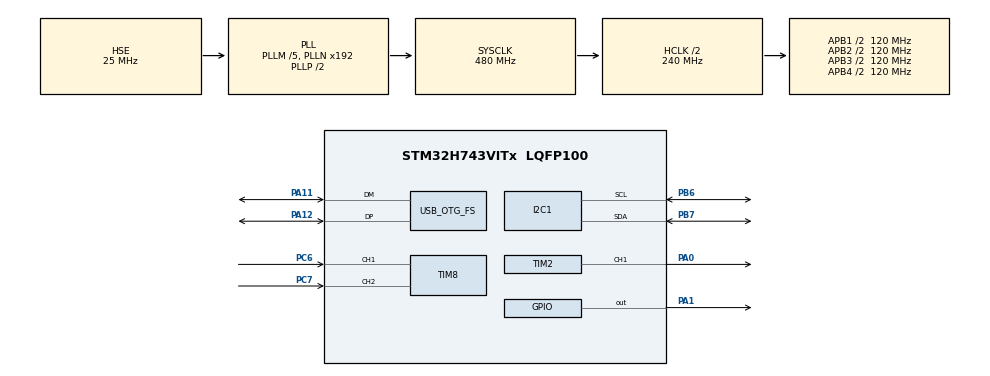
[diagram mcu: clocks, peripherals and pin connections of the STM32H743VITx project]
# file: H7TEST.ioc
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I2C1.Timing=0x307075B1
Mcu.Family=STM32H7
Mcu.Name=STM32H743VITx
Mcu.Package=LQFP100
NVIC.OTG_FS_IRQn=true\:0\:0\:false\:false\:true\:false\:true\:true
NVIC.PriorityGroup=NVIC_PRIORITYGROUP_4
NVIC.TIM8_BRK_TIM12_IRQn=true\:0\:0\:false\:false\:true\:true\:true\:true
PA0.Signal=S_TIM2_CH1_ETR
PA1.Signal=GPIO_Output
PA11.Mode=Device_Only
PA11.Signal=USB_OTG_FS_DM
PA12.Mode=Device_Only
PA12.Signal=USB_OTG_FS_DP
PB6.Mode=I2C
PB6.Signal=I2C1_SCL
PB7.Mode=I2C
PB7.Signal=I2C1_SDA
PC6.GPIO_PuPd=GPIO_PULLUP
PC6.Signal=S_TIM8_CH1
PC7.GPIO_PuPd=GPIO_PULLUP
PC7.Signal=S_TIM8_CH2
PH0-OSC_IN\ (PH0).Mode=HSE-External-Oscillator
PH0-OSC_IN\ (PH0).Signal=RCC_OSC_IN
PH1-OSC_OUT\ (PH1).Mode=HSE-External-Oscillator
PH1-OSC_OUT\ (PH1).Signal=RCC_OSC_OUT
ProjectManager.HeapSize=0x200
ProjectManager.StackSize=0x400
ProjectManager.TargetToolchain=STM32CubeIDE
RCC.ADCFreq_Value=50390625
RCC.APB1Freq_Value=120000000
RCC.APB2Freq_Value=120000000
RCC.APB3Freq_Value=120000000
RCC.APB4Freq_Value=120000000
RCC.CortexFreq_Value=480000000
RCC.D1PPRE=RCC_APB3_DIV2
RCC.D2PPRE1=RCC_APB1_DIV2
RCC.D2PPRE2=RCC_APB2_DIV2
RCC.D3PPRE=RCC_APB4_DIV2
RCC.DIVM1=5
RCC.DIVN1=192
RCC.HCLKFreq_Value=240000000
RCC.HPRE=RCC_HCLK_DIV2
RCC.PLLSourceVirtual=RCC_PLLSOURCE_HSE
RCC.SYSCLKFreq_VALUE=480000000
RCC.SYSCLKSource=RCC_SYSCLKSOURCE_PLLCLK
RCC.USBCLockSelection=RCC_USBCLKSOURCE_HSI48
RCC.USBFreq_Value=48000000
SH.S_TIM2_CH1_ETR.0=TIM2_CH1,PWM Generation1 CH1
SH.S_TIM8_CH1.0=TIM8_CH1,Encoder_Interface
SH.S_TIM8_CH2.0=TIM8_CH2,Encoder_Interface
TIM12.AutoReloadPreload=TIM_AUTORELOAD_PRELOAD_ENABLE
TIM12.Period=4095
TIM2.AutoReloadPreload=TIM_AUTORELOAD_PRELOAD_ENABLE
TIM2.Channel-PWM\ Generation1\ CH1=TIM_CHANNEL_1
TIM2.OCFastMode_PWM-PWM\ Generation1\ CH1=TIM_OCFAST_ENABLE
TIM2.Period=4095
TIM2.Prescaler=0
TIM2.Pulse-PWM\ Generation1\ CH1=2047
TIM8.AutoReloadPreload=TIM_AUTORELOAD_PRELOAD_ENABLE
TIM8.EncoderMode=TIM_ENCODERMODE_TI12
TIM8.IC1Filter=15
TIM8.IC2Filter=15
USB_DEVICE.CLASS_NAME_FS=AUDIO
USB_DEVICE.VirtualMode-AUDIO_FS=Audio
USB_DEVICE.VirtualModeFS=Audio_FS
USB_OTG_FS.VirtualMode=Device_Only
VP_TIM12_VS_ClockSourceINT.Mode=Internal
VP_USB_DEVICE_VS_USB_DEVICE_AUDIO_FS.Mode=AUDIO_FS
board=custom

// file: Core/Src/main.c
/* USER CODE BEGIN Header */
/**
  ******************************************************************************
  * @file           : main.c
  * @brief          : Main program body
  ******************************************************************************
  * @attention
  *
  * Copyright (c) 2022 STMicroelectronics.
  * All rights reserved.
  *
  * This software is licensed under terms that can be found in the LICENSE file
  * in the root directory of this software component.
  * If no LICENSE file comes with this software, it is provided AS-IS.
  *
  ******************************************************************************
  */
/* USER CODE END Header */
#include "main.h"
#include "usb_device.h"

/* USER CODE BEGIN Includes */
#include "u8g2/u8g2.h"
/* USER CODE END Includes */

I2C_HandleTypeDef hi2c1;

TIM_HandleTypeDef htim2;
TIM_HandleTypeDef htim8;
TIM_HandleTypeDef htim12;

void SystemClock_Config(void);
static void MX_GPIO_Init(void);
static void MX_I2C1_Init(void);
static void MX_TIM8_Init(void);
static void MX_TIM2_Init(void);
static void MX_TIM12_Init(void);

/* USER CODE BEGIN 0 */
extern uint8_t u8x8_stm32_gpio_and_delay(u8x8_t *u8x8, uint8_t msg, uint8_t arg_int, void *arg_ptr);
extern uint8_t u8x8_byte_stm32_hw_i2c(u8x8_t *u8x8, uint8_t msg, uint8_t arg_int, void *arg_ptr);

static u8g2_t u8g2;
int counter = 0;

void HAL_TIM_PeriodElapsedCallback(TIM_HandleTypeDef *htim) {
    if(htim->Instance == TIM12) {
    	 	 __HAL_TIM_SetCompare(&htim2, TIM_CHANNEL_1, counter);
    	    counter+=4;
    	    if (counter == 4096) counter = 0;
    }
}

static int8_t MIDI_ReceiveCallback (uint8_t* buffer)
{

//		char stringNum[8];
//	  sprintf(stringNum,"%d",buffer[1]);
	  u8g2_ClearBuffer(&u8g2);
	  u8g2_SetFont(&u8g2, u8g2_font_pcsenior_8n);
	  u8g2_DrawStr(&u8g2, 0,8*1, "MIDI");
	  u8g2_SendBuffer(&u8g2);

}

/* USER CODE END 0 */

int main(void)
{

  /* MCU Configuration--------------------------------------------------------*/

  /* Reset of all peripherals, Initializes the Flash interface and the Systick. */
  HAL_Init();

  /* Configure the system clock */
  SystemClock_Config();

  /* Initialize all configured peripherals */
  MX_GPIO_Init();
  MX_I2C1_Init();
  MX_TIM8_Init();
  MX_TIM2_Init();
  MX_TIM12_Init();
  MX_USB_DEVICE_Init();
  /* USER CODE BEGIN 2 */

  HAL_TIM_Base_Start(&htim2);
  HAL_TIM_Base_Start_IT(&htim12);
//  HAL_TIM_PWM_Init(&htim2);
  HAL_TIM_PWM_Start(&htim2, TIM_CHANNEL_1);

//  TIM2->CCR1 = 2047;
//  __HAL_TIM_SetCompare(&htim2, TIM_CHANNEL_1, 100);

  HAL_TIM_Encoder_Start(&htim2, TIM_CHANNEL_ALL);
  HAL_TIM_Encoder_Start(&htim8, TIM_CHANNEL_ALL);
  u8g2_Setup_ssd1306_i2c_128x64_noname_f(&u8g2, U8G2_R0, u8x8_byte_stm32_hw_i2c, u8x8_stm32_gpio_and_delay);

	/* Initialize Display */
	u8g2_InitDisplay(&u8g2);
	u8g2_SetPowerSave(&u8g2, 0);

  /* USER CODE END 2 */

  /* Infinite loop */
  /* USER CODE BEGIN WHILE */
	char stringNum[8];
	auto count = 0;
	auto prevCount = 0;

	//MIDI Callback set
//	MIDI_Receive_Set_CallBack(&MIDI_ReceiveCallback);
	MIDI_Set_u8g2(&u8g2);

  while (1)
  {
	  HAL_GPIO_TogglePin(GPIOA, GPIO_PIN_1);
	  HAL_Delay(500);
    /* USER CODE END WHILE */

    /* USER CODE BEGIN 3 */

//		u8g2_FirstPage(&u8g2);
//		do
//		{
//			u8g2_ClearBuffer(&u8g2);
//			u8g2_SetDrawColor(&u8g2,1);
//			u8g2_SetBitmapMode(&u8g2,1);
//			u8g2_DrawBitmap(&u8g2, 0, 0, bitmap_height, bitmap_width,  bitmap);
//
//		} while (u8g2_NextPage(&u8g2));
//	  u8g2_ClearBuffer(&u8g2);

//	  u8g2_SetFont(&u8g2, u8g2_font_pcsenior_8u);

//	  u8g2_DrawStr(&u8g2, 0,8*1,"> TEST 1");
//	  u8g2_DrawStr(&u8g2, 0,8*2,"  TEST 2");
//	  u8g2_DrawStr(&u8g2, 0,8*3,"  TEST 3");
//	  u8g2_DrawStr(&u8g2, 0,8*4,"  TEST 4");
//	  u8g2_DrawStr(&u8g2, 0,8*5,"  TEST 5");
//	  u8g2_DrawStr(&u8g2, 0,8*6,"  TEST 6");
//	  u8g2_DrawStr(&u8g2, 0,8*7,"  TEST 7");
//	  (TIM8->CNT)<<6

	  // ENCODER
//	  count = (TIM8->CNT);
//	  if (count != prevCount) {
//		  sprintf(stringNum,"%d",count>>2);
//		  u8g2_ClearBuffer(&u8g2);
//		  u8g2_SetFont(&u8g2, u8g2_font_pcsenior_8n);
//		  u8g2_DrawStr(&u8g2, 0,8*1, stringNum);
//		  u8g2_SendBuffer(&u8g2);
//	  }
//	  prevCount = count;
	  // ENCODER

  }
  /* USER CODE END 3 */
}

void SystemClock_Config(void)
{
  RCC_OscInitTypeDef RCC_OscInitStruct = {0};
  RCC_ClkInitTypeDef RCC_ClkInitStruct = {0};

  /** Supply configuration update enable
  */
  HAL_PWREx_ConfigSupply(PWR_LDO_SUPPLY);

  /** Configure the main internal regulator output voltage
  */
  __HAL_PWR_VOLTAGESCALING_CONFIG(PWR_REGULATOR_VOLTAGE_SCALE0);

  while(!__HAL_PWR_GET_FLAG(PWR_FLAG_VOSRDY)) {}

  /** Initializes the RCC Oscillators according to the specified parameters
  * in the RCC_OscInitTypeDef structure.
  */
  RCC_OscInitStruct.OscillatorType = RCC_OSCILLATORTYPE_HSI48|RCC_OSCILLATORTYPE_HSE;
  RCC_OscInitStruct.HSEState = RCC_HSE_ON;
  RCC_OscInitStruct.HSI48State = RCC_HSI48_ON;
  RCC_OscInitStruct.PLL.PLLState = RCC_PLL_ON;
  RCC_OscInitStruct.PLL.PLLSource = RCC_PLLSOURCE_HSE;
  RCC_OscInitStruct.PLL.PLLM = 5;
  RCC_OscInitStruct.PLL.PLLN = 192;
  RCC_OscInitStruct.PLL.PLLP = 2;
  RCC_OscInitStruct.PLL.PLLQ = 2;
  RCC_OscInitStruct.PLL.PLLR = 2;
  RCC_OscInitStruct.PLL.PLLRGE = RCC_PLL1VCIRANGE_2;
  RCC_OscInitStruct.PLL.PLLVCOSEL = RCC_PLL1VCOWIDE;
  RCC_OscInitStruct.PLL.PLLFRACN = 0;
  if (HAL_RCC_OscConfig(&RCC_OscInitStruct) != HAL_OK)
  {
    Error_Handler();
  }

  /** Initializes the CPU, AHB and APB buses clocks
  */
  RCC_ClkInitStruct.ClockType = RCC_CLOCKTYPE_HCLK|RCC_CLOCKTYPE_SYSCLK
                              |RCC_CLOCKTYPE_PCLK1|RCC_CLOCKTYPE_PCLK2
                              |RCC_CLOCKTYPE_D3PCLK1|RCC_CLOCKTYPE_D1PCLK1;
  RCC_ClkInitStruct.SYSCLKSource = RCC_SYSCLKSOURCE_PLLCLK;
  RCC_ClkInitStruct.SYSCLKDivider = RCC_SYSCLK_DIV1;
  RCC_ClkInitStruct.AHBCLKDivider = RCC_HCLK_DIV2;
  RCC_ClkInitStruct.APB3CLKDivider = RCC_APB3_DIV2;
  RCC_ClkInitStruct.APB1CLKDivider = RCC_APB1_DIV2;
  RCC_ClkInitStruct.APB2CLKDivider = RCC_APB2_DIV2;
  RCC_ClkInitStruct.APB4CLKDivider = RCC_APB4_DIV2;

  if (HAL_RCC_ClockConfig(&RCC_ClkInitStruct, FLASH_LATENCY_4) != HAL_OK)
  {
    Error_Handler();
  }
}

static void MX_I2C1_Init(void)
{

  hi2c1.Instance = I2C1;
  hi2c1.Init.Timing = 0x307075B1;
  hi2c1.Init.OwnAddress1 = 0;
  hi2c1.Init.AddressingMode = I2C_ADDRESSINGMODE_7BIT;
  hi2c1.Init.DualAddressMode = I2C_DUALADDRESS_DISABLE;
  hi2c1.Init.OwnAddress2 = 0;
  hi2c1.Init.OwnAddress2Masks = I2C_OA2_NOMASK;
  hi2c1.Init.GeneralCallMode = I2C_GENERALCALL_DISABLE;
  hi2c1.Init.NoStretchMode = I2C_NOSTRETCH_DISABLE;
  if (HAL_I2C_Init(&hi2c1) != HAL_OK)
  {
    Error_Handler();
  }

  /** Configure Analogue filter
  */
  if (HAL_I2CEx_ConfigAnalogFilter(&hi2c1, I2C_ANALOGFILTER_ENABLE) != HAL_OK)
  {
    Error_Handler();
  }

  /** Configure Digital filter
  */
  if (HAL_I2CEx_ConfigDigitalFilter(&hi2c1, 0) != HAL_OK)
  {
    Error_Handler();
  }

}

static void MX_TIM2_Init(void)
{

  TIM_MasterConfigTypeDef sMasterConfig = {0};
  TIM_OC_InitTypeDef sConfigOC = {0};

  htim2.Instance = TIM2;
  htim2.Init.Prescaler = 0;
  htim2.Init.CounterMode = TIM_COUNTERMODE_UP;
  htim2.Init.Period = 4095;
  htim2.Init.ClockDivision = TIM_CLOCKDIVISION_DIV1;
  htim2.Init.AutoReloadPreload = TIM_AUTORELOAD_PRELOAD_ENABLE;
  if (HAL_TIM_PWM_Init(&htim2) != HAL_OK)
  {
    Error_Handler();
  }
  sMasterConfig.MasterOutputTrigger = TIM_TRGO_RESET;
  sMasterConfig.MasterSlaveMode = TIM_MASTERSLAVEMODE_DISABLE;
  if (HAL_TIMEx_MasterConfigSynchronization(&htim2, &sMasterConfig) != HAL_OK)
  {
    Error_Handler();
  }
  sConfigOC.OCMode = TIM_OCMODE_PWM1;
  sConfigOC.Pulse = 2047;
  sConfigOC.OCPolarity = TIM_OCPOLARITY_HIGH;
  sConfigOC.OCFastMode = TIM_OCFAST_ENABLE;
  if (HAL_TIM_PWM_ConfigChannel(&htim2, &sConfigOC, TIM_CHANNEL_1) != HAL_OK)
  {
    Error_Handler();
  }
  HAL_TIM_MspPostInit(&htim2);

}

static void MX_TIM8_Init(void)
{

  TIM_Encoder_InitTypeDef sConfig = {0};
  TIM_MasterConfigTypeDef sMasterConfig = {0};

  htim8.Instance = TIM8;
  htim8.Init.Prescaler = 0;
  htim8.Init.CounterMode = TIM_COUNTERMODE_UP;
  htim8.Init.Period = 65535;
  htim8.Init.ClockDivision = TIM_CLOCKDIVISION_DIV1;
  htim8.Init.RepetitionCounter = 0;
  htim8.Init.AutoReloadPreload = TIM_AUTORELOAD_PRELOAD_ENABLE;
  sConfig.EncoderMode = TIM_ENCODERMODE_TI12;
  sConfig.IC1Polarity = TIM_ICPOLARITY_RISING;
  sConfig.IC1Selection = TIM_ICSELECTION_DIRECTTI;
  sConfig.IC1Prescaler = TIM_ICPSC_DIV1;
  sConfig.IC1Filter = 15;
  sConfig.IC2Polarity = TIM_ICPOLARITY_RISING;
  sConfig.IC2Selection = TIM_ICSELECTION_DIRECTTI;
  sConfig.IC2Prescaler = TIM_ICPSC_DIV1;
  sConfig.IC2Filter = 15;
  if (HAL_TIM_Encoder_Init(&htim8, &sConfig) != HAL_OK)
  {
    Error_Handler();
  }
  sMasterConfig.MasterOutputTrigger = TIM_TRGO_RESET;
  sMasterConfig.MasterOutputTrigger2 = TIM_TRGO2_RESET;
  sMasterConfig.MasterSlaveMode = TIM_MASTERSLAVEMODE_DISABLE;
  if (HAL_TIMEx_MasterConfigSynchronization(&htim8, &sMasterConfig) != HAL_OK)
  {
    Error_Handler();
  }

}

static void MX_TIM12_Init(void)
{

  TIM_ClockConfigTypeDef sClockSourceConfig = {0};

  htim12.Instance = TIM12;
  htim12.Init.Prescaler = 0;
  htim12.Init.CounterMode = TIM_COUNTERMODE_UP;
  htim12.Init.Period = 4095;
  htim12.Init.ClockDivision = TIM_CLOCKDIVISION_DIV1;
  htim12.Init.AutoReloadPreload = TIM_AUTORELOAD_PRELOAD_ENABLE;
  if (HAL_TIM_Base_Init(&htim12) != HAL_OK)
  {
    Error_Handler();
  }
  sClockSourceConfig.ClockSource = TIM_CLOCKSOURCE_INTERNAL;
  if (HAL_TIM_ConfigClockSource(&htim12, &sClockSourceConfig) != HAL_OK)
  {
    Error_Handler();
  }

}

static void MX_GPIO_Init(void)
{
  GPIO_InitTypeDef GPIO_InitStruct = {0};

  /* GPIO Ports Clock Enable */
  __HAL_RCC_GPIOH_CLK_ENABLE();
  __HAL_RCC_GPIOA_CLK_ENABLE();
  __HAL_RCC_GPIOC_CLK_ENABLE();
  __HAL_RCC_GPIOB_CLK_ENABLE();

  /*Configure GPIO pin Output Level */
  HAL_GPIO_WritePin(GPIOA, GPIO_PIN_1, GPIO_PIN_RESET);

  /*Configure GPIO pin : PA1 */
  GPIO_InitStruct.Pin = GPIO_PIN_1;
  GPIO_InitStruct.Mode = GPIO_MODE_OUTPUT_PP;
  GPIO_InitStruct.Pull = GPIO_NOPULL;
  GPIO_InitStruct.Speed = GPIO_SPEED_FREQ_LOW;
  HAL_GPIO_Init(GPIOA, &GPIO_InitStruct);

}

void Error_Handler(void)
{
  __disable_irq();
  while (1)
  {
  }
}
